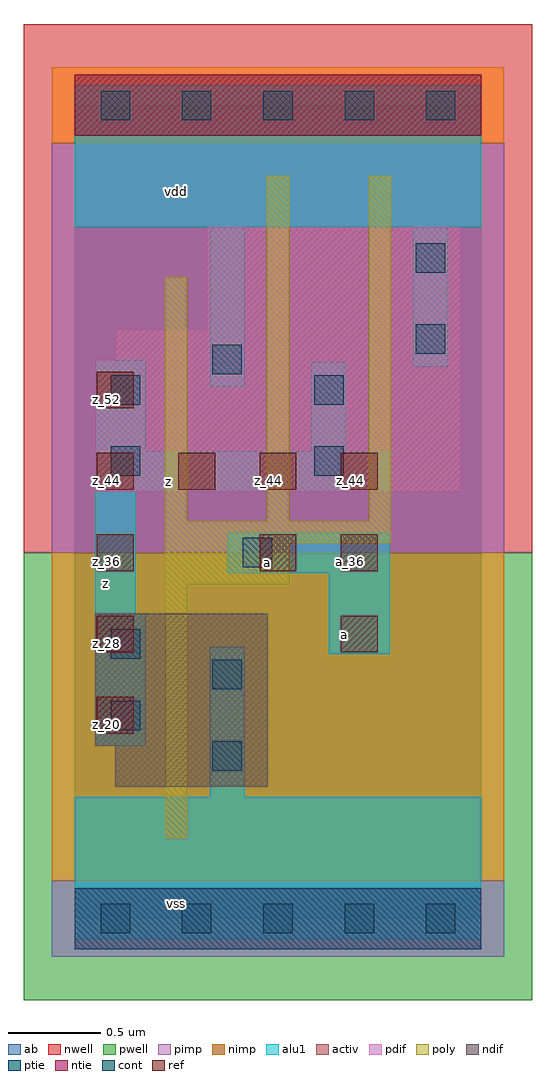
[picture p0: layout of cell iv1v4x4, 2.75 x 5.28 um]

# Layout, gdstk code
import gdstk
lib = gdstk.Library(unit=1e-6, precision=2.5e-09)
def R(c, l, rs):  # rectangles x0, y0, x1, y1
    for r in rs: c.add(gdstk.rectangle(r[:2], r[2:], *l))
def A(c, l, x, y, w, h, nx, ny, dx, dy):  # array of equal rectangles
    R(c, l, [(x+i*dx, y+j*dy, x+i*dx+w, y+j*dy+h) for i in range(nx) for j in range(ny)])
ndif = (3, 0)
pdif = (4, 0)
ntie = (5, 0)
ptie = (6, 0)
ref = (24, 0)
cont = (25, 0)
pwell = (41, 0)
nwell = (42, 0)
activ = (43, 0)
pimp = (44, 0)
nimp = (45, 0)
poly = (46, 0)
alu1 = (49, 0)
ab = (63, 0)

iv1v4x4 = lib.new_cell('iv1v4x4')
R(iv1v4x4, ndif, [(0.22,0.715,1.045,0.935), (0.11,0.935,1.045,1.65)])
R(iv1v4x4, pdif, [(0.11,2.31,2.09,3.025), (0.22,3.025,2.09,3.19), (0.715,3.19,2.09,3.74)])
R(iv1v4x4, ntie, [(0,4.235,2.2,4.565)])
R(iv1v4x4, ptie, [(0,-0.165,2.2,0.165)])
A(iv1v4x4, ref, 0.12, 1, 0.2, 0.2, 1, 3, 0, 0.44)
A(iv1v4x4, ref, 0.12, 2.32, 0.2, 0.2, 4, 1, 0.44, 0)
R(iv1v4x4, ref, [(1.44,1.44,1.64,1.64), (1,1.88,1.2,2.08), (1.44,1.88,1.64,2.08), (0.12,2.76,0.32,2.96)])
A(iv1v4x4, cont, 0.14, -0.08, 0.16, 0.16, 5, 2, 0.44, 4.4)
R(iv1v4x4, cont, [(0.745,0.8,0.905,0.96), (0.195,1.02,0.355,1.18), (0.745,1.24,0.905,1.4), (0.195,1.405,0.355,1.565), (0.91,1.9,1.07,2.06), (0.195,2.395,0.355,2.555), (1.295,2.395,1.455,2.555), (0.195,2.78,0.355,2.94), (1.295,2.78,1.455,2.94), (0.745,2.945,0.905,3.105), (1.845,3.055,2.005,3.215), (1.845,3.495,2.005,3.655)])
R(iv1v4x4, pwell, [(-0.275,-0.44,2.475,1.98)])
R(iv1v4x4, nwell, [(-0.275,1.98,2.475,4.84)])
R(iv1v4x4, activ, [(0,-0.165,2.2,0.165), (0.22,0.715,1.045,0.935), (0.11,0.935,1.045,1.65), (0.11,2.31,2.09,3.025), (0.22,3.025,2.09,3.19), (0.715,3.19,2.09,3.74), (0,4.235,2.2,4.565)])
R(iv1v4x4, pimp, [(-0.125,-0.205,2.325,0.205), (-0.125,1.98,2.325,4.195)])
R(iv1v4x4, nimp, [(-0.125,0.205,2.325,1.98), (-0.125,4.195,2.325,4.605)])
R(iv1v4x4, poly, [(0.49,0.435,0.61,1.81), (0.49,1.81,1.16,2.03), (0.49,2.03,1.71,2.15), (0.49,2.15,0.61,3.47), (1.04,2.15,1.16,4.02), (1.59,2.15,1.71,4.02)])
R(iv1v4x4, alu1, [(0,-0.11,2.2,0.66), (0.73,0.66,0.92,1.47), (0.11,0.935,0.385,1.65), (1.375,1.43,1.705,1.87), (0.11,1.65,0.33,2.31), (0.825,1.87,1.705,2.09), (0.11,2.31,1.705,2.53), (0.11,2.53,0.385,3.025), (1.28,2.53,1.47,3.01), (0.73,2.875,0.92,3.74), (1.83,2.985,2.02,3.74), (0,3.74,2.2,4.51)])
R(iv1v4x4, ab, [(0,0,2.2,4.4)])
iv1v4x4.add(gdstk.Label('vss', (0.55,0.0825), layer=49, texttype=0))
iv1v4x4.add(gdstk.Label('a', (1.4575,1.54), layer=49, texttype=0))
iv1v4x4.add(gdstk.Label('a', (1.045,1.925), layer=49, texttype=0))
iv1v4x4.add(gdstk.Label('z', (0.165,1.815), layer=49, texttype=0))
iv1v4x4.add(gdstk.Label('z', (0.5075,2.365), layer=49, texttype=0))
iv1v4x4.add(gdstk.Label('vdd', (0.55,3.9325), layer=49, texttype=0))
iv1v4x4.add(gdstk.Label('z_44', (0.61,2.37), layer=24, texttype=0))
iv1v4x4.add(gdstk.Label('a_36', (1.05,1.93), layer=24, texttype=0))
iv1v4x4.add(gdstk.Label('z_44', (1.05,2.37), layer=24, texttype=0))
iv1v4x4.add(gdstk.Label('a_28', (1.49,1.49), layer=24, texttype=0))
iv1v4x4.add(gdstk.Label('a_36', (1.49,1.93), layer=24, texttype=0))
iv1v4x4.add(gdstk.Label('z_44', (1.49,2.37), layer=24, texttype=0))
iv1v4x4.add(gdstk.Label('z_20', (0.17,1.05), layer=24, texttype=0))
iv1v4x4.add(gdstk.Label('z_28', (0.17,1.49), layer=24, texttype=0))
iv1v4x4.add(gdstk.Label('z_36', (0.17,1.93), layer=24, texttype=0))
iv1v4x4.add(gdstk.Label('z_44', (0.17,2.37), layer=24, texttype=0))
iv1v4x4.add(gdstk.Label('z_52', (0.17,2.81), layer=24, texttype=0))

lib.write_gds('iv1v4x4.gds')
